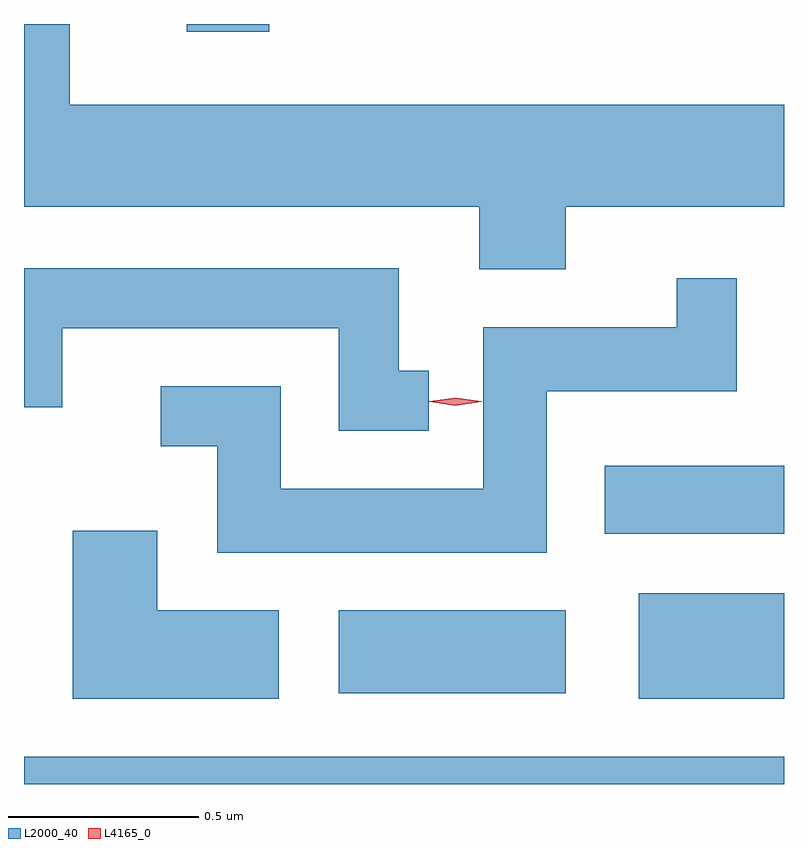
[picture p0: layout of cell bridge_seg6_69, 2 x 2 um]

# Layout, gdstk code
import gdstk
lib = gdstk.Library(unit=1e-6, precision=1e-09)
def R(c, l, rs):  # rectangles x0, y0, x1, y1
    for r in rs: c.add(gdstk.rectangle(r[:2], r[2:], *l))
def P(c, l, *ps):  # polygons
    for p in ps: c.add(gdstk.Polygon(p, *l))
L2000_40 = (2000, 40)
L4165_0 = (4165, 0)

bridge_seg6_69 = lib.new_cell('bridge_seg6_69')
R(bridge_seg6_69, L2000_40, [(1256.773,1637.317,1258.773,1637.389), (1258.391,1637.541,1258.773,1637.819), (1257.601,1637.556,1258.199,1637.774), (1258.301,1637.976,1258.773,1638.154), (1257.201,1639.296,1257.419,1639.317)])
P(bridge_seg6_69, L2000_40, [(1258.199,1638.836),(1258.773,1638.836),(1258.773,1639.104),(1256.894,1639.104),(1256.894,1639.317),(1256.773,1639.317),(1256.773,1638.836),(1257.971,1638.836),(1257.971,1638.671),(1258.199,1638.671)],
  [(1257.838,1638.404),(1257.759,1638.404),(1257.759,1638.674),(1256.773,1638.674),(1256.773,1638.308),(1256.874,1638.308),(1256.874,1638.516),(1257.601,1638.516),(1257.601,1638.246),(1257.838,1638.246)],
  [(1258.149,1638.351),(1258.649,1638.351),(1258.649,1638.648),(1258.491,1638.648),(1258.491,1638.519),(1257.981,1638.519),(1257.981,1638.094),(1257.449,1638.094),(1257.449,1638.364),(1257.133,1638.364),(1257.133,1638.206),(1257.281,1638.206),(1257.281,1637.926),(1258.149,1637.926)],
  [(1257.444,1637.774),(1257.124,1637.774),(1257.124,1637.984),(1256.901,1637.984),(1256.901,1637.541),(1257.444,1637.541)])
P(bridge_seg6_69, L4165_0, [(1257.908,1638.313),(1257.839,1638.323),(1257.839,1638.323),(1257.839,1638.324),(1257.908,1638.333),(1257.978,1638.324),(1257.978,1638.323),(1257.978,1638.323)])

lib.write_gds('bridge_seg6_69.gds')
